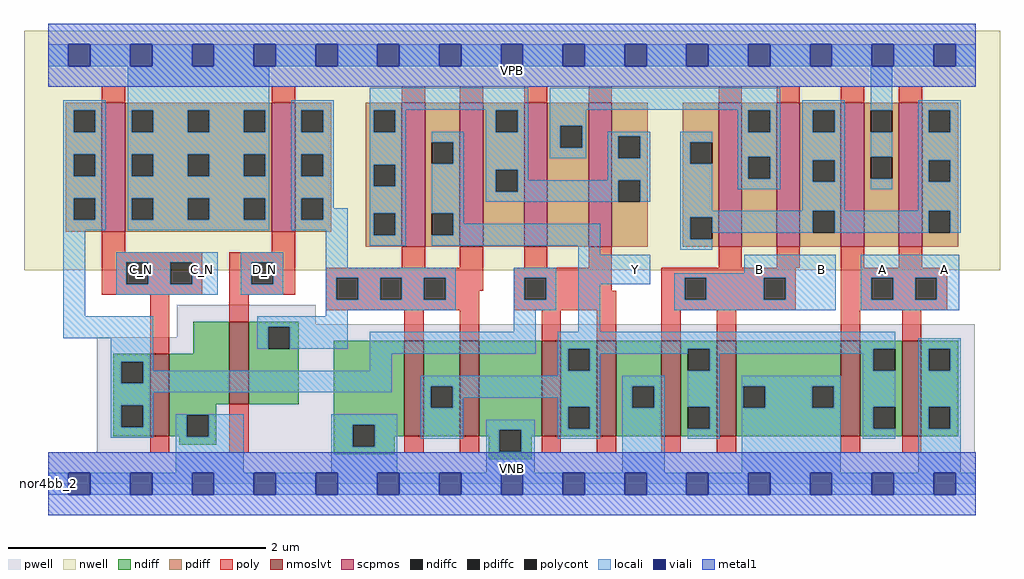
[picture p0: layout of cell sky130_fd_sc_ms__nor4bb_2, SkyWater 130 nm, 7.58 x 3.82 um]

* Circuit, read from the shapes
.subckt sky130_fd_sc_ms__nor4bb_2 A B C_N D_N VGND VNB VPB VPWR Y
XM1 VGND C_N n1 VNB sky130_fd_pr__nfet_01v8_lvt w=0.64 l=0.15
XM2 n2 D_N VGND VNB sky130_fd_pr__nfet_01v8_lvt w=0.64 l=0.15
XM3 Y n2 VGND VNB sky130_fd_pr__nfet_01v8_lvt w=0.74 l=0.15 m=2
XM4 Y n1 VGND VNB sky130_fd_pr__nfet_01v8_lvt w=0.74 l=0.15 m=2
XM5 Y B VGND VNB sky130_fd_pr__nfet_01v8_lvt w=0.74 l=0.15 m=2
XM6 Y A VGND VNB sky130_fd_pr__nfet_01v8_lvt w=0.74 l=0.15 m=2
XM7 VPWR C_N n1 VPB sky130_fd_pr__pfet_01v8 w=1 l=0.18
XM8 n2 D_N VPWR VPB sky130_fd_pr__pfet_01v8 w=1 l=0.18
XM9 Y n2 n3 VPB sky130_fd_pr__pfet_01v8 w=1.12 l=0.18 m=2
XM10 n4 n1 n3 VPB sky130_fd_pr__pfet_01v8 w=1.12 l=0.18 m=2
XM11 n4 B n5 VPB sky130_fd_pr__pfet_01v8 w=1.12 l=0.18 m=2
XM12 VPWR A n5 VPB sky130_fd_pr__pfet_01v8 w=1.12 l=0.18 m=2
.ends

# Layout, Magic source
magic
tech sky130A
magscale 1 2
<< nwell >>
rect -38 332 1478 704
<< pwell >>
rect 199 248 415 278
rect 199 228 1439 248
rect 75 49 1439 228
rect 0 0 1440 49
<< scpmos >>
rect 83 392 119 592
rect 347 392 383 592
rect 549 368 585 592
rect 639 368 675 592
rect 739 368 775 592
rect 839 368 875 592
rect 1041 368 1077 592
rect 1131 368 1167 592
rect 1231 368 1267 592
rect 1321 368 1357 592
<< nmoslvt >>
rect 158 74 188 202
rect 281 124 311 252
rect 553 74 583 222
rect 639 74 669 222
rect 766 74 796 222
rect 852 74 882 222
rect 952 74 982 222
rect 1038 74 1068 222
rect 1231 74 1261 222
rect 1326 74 1356 222
<< ndiff >>
rect 225 202 281 252
rect 101 190 158 202
rect 101 156 113 190
rect 147 156 158 190
rect 101 122 158 156
rect 101 88 113 122
rect 147 88 158 122
rect 101 74 158 88
rect 188 124 281 202
rect 311 244 389 252
rect 311 210 341 244
rect 375 210 389 244
rect 311 124 389 210
rect 188 107 261 124
rect 188 74 215 107
rect 203 73 215 74
rect 249 73 261 107
rect 203 61 261 73
rect 443 92 553 222
rect 443 58 473 92
rect 507 74 553 92
rect 583 152 639 222
rect 583 118 594 152
rect 628 118 639 152
rect 583 74 639 118
rect 669 84 766 222
rect 669 74 700 84
rect 507 58 538 74
rect 443 46 538 58
rect 684 50 700 74
rect 734 74 766 84
rect 796 210 852 222
rect 796 176 807 210
rect 841 176 852 210
rect 796 120 852 176
rect 796 86 807 120
rect 841 86 852 120
rect 796 74 852 86
rect 882 152 952 222
rect 882 118 907 152
rect 941 118 952 152
rect 882 74 952 118
rect 982 210 1038 222
rect 982 176 993 210
rect 1027 176 1038 210
rect 982 120 1038 176
rect 982 86 993 120
rect 1027 86 1038 120
rect 982 74 1038 86
rect 1068 152 1231 222
rect 1068 118 1079 152
rect 1113 118 1186 152
rect 1220 118 1231 152
rect 1068 74 1231 118
rect 1261 210 1326 222
rect 1261 176 1281 210
rect 1315 176 1326 210
rect 1261 120 1326 176
rect 1261 86 1281 120
rect 1315 86 1326 120
rect 1261 74 1326 86
rect 1356 210 1413 222
rect 1356 176 1367 210
rect 1401 176 1413 210
rect 1356 120 1413 176
rect 1356 86 1367 120
rect 1401 86 1413 120
rect 1356 74 1413 86
rect 734 50 751 74
rect 684 38 751 50
<< pdiff >>
rect 27 580 83 592
rect 27 546 39 580
rect 73 546 83 580
rect 27 512 83 546
rect 27 478 39 512
rect 73 478 83 512
rect 27 444 83 478
rect 27 410 39 444
rect 73 410 83 444
rect 27 392 83 410
rect 119 580 347 592
rect 119 546 129 580
rect 163 546 216 580
rect 250 546 303 580
rect 337 546 347 580
rect 119 512 347 546
rect 119 478 129 512
rect 163 478 216 512
rect 250 478 303 512
rect 337 478 347 512
rect 119 444 347 478
rect 119 410 129 444
rect 163 410 216 444
rect 250 410 303 444
rect 337 410 347 444
rect 119 392 347 410
rect 383 580 439 592
rect 383 546 393 580
rect 427 546 439 580
rect 383 512 439 546
rect 383 478 393 512
rect 427 478 439 512
rect 383 444 439 478
rect 383 410 393 444
rect 427 410 439 444
rect 383 392 439 410
rect 493 580 549 592
rect 493 546 505 580
rect 539 546 549 580
rect 493 496 549 546
rect 493 462 505 496
rect 539 462 549 496
rect 493 420 549 462
rect 493 386 505 420
rect 539 386 549 420
rect 493 368 549 386
rect 585 531 639 592
rect 585 497 595 531
rect 629 497 639 531
rect 585 420 639 497
rect 585 386 595 420
rect 629 386 639 420
rect 585 368 639 386
rect 675 580 739 592
rect 675 546 695 580
rect 729 546 739 580
rect 675 488 739 546
rect 675 454 695 488
rect 729 454 739 488
rect 675 368 739 454
rect 775 556 839 592
rect 775 522 795 556
rect 829 522 839 556
rect 775 368 839 522
rect 875 540 931 592
rect 875 506 885 540
rect 919 506 931 540
rect 875 472 931 506
rect 875 438 885 472
rect 919 438 931 472
rect 875 368 931 438
rect 985 531 1041 592
rect 985 497 997 531
rect 1031 497 1041 531
rect 985 414 1041 497
rect 985 380 997 414
rect 1031 380 1041 414
rect 985 368 1041 380
rect 1077 580 1131 592
rect 1077 546 1087 580
rect 1121 546 1131 580
rect 1077 508 1131 546
rect 1077 474 1087 508
rect 1121 474 1131 508
rect 1077 368 1131 474
rect 1167 580 1231 592
rect 1167 546 1187 580
rect 1221 546 1231 580
rect 1167 503 1231 546
rect 1167 469 1187 503
rect 1221 469 1231 503
rect 1167 424 1231 469
rect 1167 390 1187 424
rect 1221 390 1231 424
rect 1167 368 1231 390
rect 1267 580 1321 592
rect 1267 546 1277 580
rect 1311 546 1321 580
rect 1267 508 1321 546
rect 1267 474 1277 508
rect 1311 474 1321 508
rect 1267 368 1321 474
rect 1357 580 1413 592
rect 1357 546 1367 580
rect 1401 546 1413 580
rect 1357 503 1413 546
rect 1357 469 1367 503
rect 1401 469 1413 503
rect 1357 424 1413 469
rect 1357 390 1367 424
rect 1401 390 1413 424
rect 1357 368 1413 390
<< ndiffc >>
rect 113 156 147 190
rect 113 88 147 122
rect 341 210 375 244
rect 215 73 249 107
rect 473 58 507 92
rect 594 118 628 152
rect 700 50 734 84
rect 807 176 841 210
rect 807 86 841 120
rect 907 118 941 152
rect 993 176 1027 210
rect 993 86 1027 120
rect 1079 118 1113 152
rect 1186 118 1220 152
rect 1281 176 1315 210
rect 1281 86 1315 120
rect 1367 176 1401 210
rect 1367 86 1401 120
<< pdiffc >>
rect 39 546 73 580
rect 39 478 73 512
rect 39 410 73 444
rect 129 546 163 580
rect 216 546 250 580
rect 303 546 337 580
rect 129 478 163 512
rect 216 478 250 512
rect 303 478 337 512
rect 129 410 163 444
rect 216 410 250 444
rect 303 410 337 444
rect 393 546 427 580
rect 393 478 427 512
rect 393 410 427 444
rect 505 546 539 580
rect 505 462 539 496
rect 505 386 539 420
rect 595 497 629 531
rect 595 386 629 420
rect 695 546 729 580
rect 695 454 729 488
rect 795 522 829 556
rect 885 506 919 540
rect 885 438 919 472
rect 997 497 1031 531
rect 997 380 1031 414
rect 1087 546 1121 580
rect 1087 474 1121 508
rect 1187 546 1221 580
rect 1187 469 1221 503
rect 1187 390 1221 424
rect 1277 546 1311 580
rect 1277 474 1311 508
rect 1367 546 1401 580
rect 1367 469 1401 503
rect 1367 390 1401 424
<< poly >>
rect 83 592 119 618
rect 347 592 383 618
rect 549 592 585 618
rect 639 592 675 618
rect 739 592 775 618
rect 839 592 875 618
rect 1041 592 1077 618
rect 1131 592 1167 618
rect 1231 592 1267 618
rect 1321 592 1357 618
rect 83 360 119 392
rect 347 360 383 392
rect 83 344 239 360
rect 83 310 121 344
rect 155 310 189 344
rect 223 310 239 344
rect 83 294 239 310
rect 281 344 383 360
rect 281 310 315 344
rect 349 310 383 344
rect 549 336 585 368
rect 639 336 675 368
rect 739 336 775 368
rect 839 336 875 368
rect 1041 336 1077 368
rect 1131 336 1167 368
rect 1231 336 1267 368
rect 1321 336 1357 368
rect 281 294 383 310
rect 431 320 675 336
rect 158 202 188 294
rect 281 252 311 294
rect 431 286 447 320
rect 481 286 515 320
rect 549 286 583 320
rect 617 300 675 320
rect 723 320 875 336
rect 617 286 669 300
rect 431 270 669 286
rect 723 286 739 320
rect 773 300 875 320
rect 952 320 1161 336
rect 773 286 882 300
rect 723 270 882 286
rect 553 222 583 270
rect 639 222 669 270
rect 766 222 796 270
rect 852 222 882 270
rect 952 286 988 320
rect 1022 286 1111 320
rect 1145 286 1161 320
rect 952 270 1161 286
rect 1231 320 1396 336
rect 1231 286 1278 320
rect 1312 286 1346 320
rect 1380 286 1396 320
rect 1231 270 1396 286
rect 952 222 982 270
rect 1038 222 1068 270
rect 1231 222 1261 270
rect 1326 222 1356 270
rect 158 48 188 74
rect 281 48 311 124
rect 553 48 583 74
rect 639 48 669 74
rect 766 48 796 74
rect 852 48 882 74
rect 952 48 982 74
rect 1038 48 1068 74
rect 1231 48 1261 74
rect 1326 48 1356 74
<< polycont >>
rect 121 310 155 344
rect 189 310 223 344
rect 315 310 349 344
rect 447 286 481 320
rect 515 286 549 320
rect 583 286 617 320
rect 739 286 773 320
rect 988 286 1022 320
rect 1111 286 1145 320
rect 1278 286 1312 320
rect 1346 286 1380 320
<< locali >>
rect 0 649 31 683
rect 65 649 127 683
rect 161 649 223 683
rect 257 649 319 683
rect 353 649 415 683
rect 449 649 511 683
rect 545 649 607 683
rect 641 649 703 683
rect 737 649 799 683
rect 833 649 895 683
rect 929 649 991 683
rect 1025 649 1087 683
rect 1121 649 1183 683
rect 1217 649 1279 683
rect 1313 649 1375 683
rect 1409 649 1440 683
rect 23 580 89 596
rect 23 546 39 580
rect 73 546 89 580
rect 23 512 89 546
rect 23 478 39 512
rect 73 478 89 512
rect 23 444 89 478
rect 23 410 39 444
rect 73 410 89 444
rect 23 394 89 410
rect 123 580 343 649
rect 123 546 129 580
rect 163 546 216 580
rect 250 546 303 580
rect 337 546 343 580
rect 123 512 343 546
rect 123 478 129 512
rect 163 478 216 512
rect 250 478 303 512
rect 337 478 343 512
rect 123 444 343 478
rect 123 410 129 444
rect 163 410 216 444
rect 250 410 303 444
rect 337 410 343 444
rect 123 394 343 410
rect 377 580 443 596
rect 377 546 393 580
rect 427 546 443 580
rect 377 512 443 546
rect 377 478 393 512
rect 427 478 443 512
rect 377 444 443 478
rect 377 410 393 444
rect 427 428 443 444
rect 499 581 745 615
rect 499 580 555 581
rect 499 546 505 580
rect 539 546 555 580
rect 679 580 745 581
rect 499 496 555 546
rect 499 462 505 496
rect 539 462 555 496
rect 427 410 465 428
rect 377 394 465 410
rect 23 260 57 394
rect 105 344 263 360
rect 105 310 121 344
rect 155 310 189 344
rect 223 310 263 344
rect 105 294 263 310
rect 299 344 365 360
rect 299 310 315 344
rect 349 310 365 344
rect 299 294 365 310
rect 431 336 465 394
rect 499 420 555 462
rect 499 386 505 420
rect 539 386 555 420
rect 499 370 555 386
rect 595 531 645 547
rect 629 497 645 531
rect 595 420 645 497
rect 679 546 695 580
rect 729 546 745 580
rect 679 488 745 546
rect 779 581 1137 615
rect 779 556 835 581
rect 779 522 795 556
rect 829 522 835 556
rect 1071 580 1137 581
rect 779 506 835 522
rect 869 540 935 547
rect 869 506 885 540
rect 919 506 935 540
rect 679 454 695 488
rect 729 472 745 488
rect 869 472 935 506
rect 729 454 885 472
rect 679 438 885 454
rect 919 438 935 472
rect 981 531 1031 547
rect 981 497 997 531
rect 629 404 645 420
rect 981 424 1031 497
rect 1071 546 1087 580
rect 1121 546 1137 580
rect 1071 508 1137 546
rect 1071 474 1087 508
rect 1121 474 1137 508
rect 1071 458 1137 474
rect 1171 580 1237 596
rect 1171 546 1187 580
rect 1221 546 1237 580
rect 1171 503 1237 546
rect 1171 469 1187 503
rect 1221 469 1237 503
rect 1171 424 1237 469
rect 1277 580 1311 649
rect 1277 508 1311 546
rect 1277 458 1311 474
rect 1351 580 1417 596
rect 1351 546 1367 580
rect 1401 546 1417 580
rect 1351 503 1417 546
rect 1351 469 1367 503
rect 1401 469 1417 503
rect 1351 424 1417 469
rect 981 414 1187 424
rect 629 386 857 404
rect 595 370 857 386
rect 823 356 857 370
rect 981 380 997 414
rect 1031 390 1187 414
rect 1221 390 1367 424
rect 1401 390 1417 424
rect 981 364 1031 380
rect 431 320 633 336
rect 431 286 447 320
rect 481 286 515 320
rect 549 286 583 320
rect 617 286 633 320
rect 431 270 633 286
rect 723 320 789 336
rect 723 286 739 320
rect 773 286 789 320
rect 723 270 789 286
rect 823 310 935 356
rect 1081 327 1223 356
rect 972 320 1223 327
rect 431 260 465 270
rect 23 226 163 260
rect 97 190 163 226
rect 324 244 465 260
rect 324 210 341 244
rect 375 210 465 244
rect 723 236 757 270
rect 823 236 857 310
rect 972 286 988 320
rect 1022 286 1111 320
rect 1145 286 1223 320
rect 972 270 1223 286
rect 1262 320 1415 356
rect 1262 286 1278 320
rect 1312 286 1346 320
rect 1380 286 1415 320
rect 1262 270 1415 286
rect 97 156 113 190
rect 147 176 163 190
rect 499 202 757 236
rect 791 210 1315 236
rect 499 176 533 202
rect 147 156 533 176
rect 791 176 807 210
rect 841 202 993 210
rect 841 176 857 202
rect 791 168 857 176
rect 1027 202 1281 210
rect 1027 176 1043 202
rect 97 142 533 156
rect 578 152 857 168
rect 97 122 163 142
rect 97 88 113 122
rect 147 88 163 122
rect 578 118 594 152
rect 628 134 857 152
rect 628 118 644 134
rect 97 72 163 88
rect 198 107 303 108
rect 198 73 215 107
rect 249 73 303 107
rect 198 17 303 73
rect 439 92 542 108
rect 439 58 473 92
rect 507 58 542 92
rect 578 70 644 118
rect 791 120 857 134
rect 680 84 755 100
rect 439 17 542 58
rect 680 50 700 84
rect 734 50 755 84
rect 791 86 807 120
rect 841 86 857 120
rect 791 70 857 86
rect 891 152 957 168
rect 891 118 907 152
rect 941 118 957 152
rect 680 17 755 50
rect 891 17 957 118
rect 993 120 1043 176
rect 1265 176 1281 202
rect 1027 86 1043 120
rect 993 70 1043 86
rect 1077 152 1231 168
rect 1077 118 1079 152
rect 1113 118 1186 152
rect 1220 118 1231 152
rect 1077 17 1231 118
rect 1265 120 1315 176
rect 1265 86 1281 120
rect 1265 70 1315 86
rect 1351 210 1417 226
rect 1351 176 1367 210
rect 1401 176 1417 210
rect 1351 120 1417 176
rect 1351 86 1367 120
rect 1401 86 1417 120
rect 1351 17 1417 86
rect 0 -17 31 17
rect 65 -17 127 17
rect 161 -17 223 17
rect 257 -17 319 17
rect 353 -17 415 17
rect 449 -17 511 17
rect 545 -17 607 17
rect 641 -17 703 17
rect 737 -17 799 17
rect 833 -17 895 17
rect 929 -17 991 17
rect 1025 -17 1087 17
rect 1121 -17 1183 17
rect 1217 -17 1279 17
rect 1313 -17 1375 17
rect 1409 -17 1440 17
<< viali >>
rect 31 649 65 683
rect 127 649 161 683
rect 223 649 257 683
rect 319 649 353 683
rect 415 649 449 683
rect 511 649 545 683
rect 607 649 641 683
rect 703 649 737 683
rect 799 649 833 683
rect 895 649 929 683
rect 991 649 1025 683
rect 1087 649 1121 683
rect 1183 649 1217 683
rect 1279 649 1313 683
rect 1375 649 1409 683
rect 31 -17 65 17
rect 127 -17 161 17
rect 223 -17 257 17
rect 319 -17 353 17
rect 415 -17 449 17
rect 511 -17 545 17
rect 607 -17 641 17
rect 703 -17 737 17
rect 799 -17 833 17
rect 895 -17 929 17
rect 991 -17 1025 17
rect 1087 -17 1121 17
rect 1183 -17 1217 17
rect 1279 -17 1313 17
rect 1375 -17 1409 17
<< metal1 >>
rect 0 683 1440 715
rect 0 649 31 683
rect 65 649 127 683
rect 161 649 223 683
rect 257 649 319 683
rect 353 649 415 683
rect 449 649 511 683
rect 545 649 607 683
rect 641 649 703 683
rect 737 649 799 683
rect 833 649 895 683
rect 929 649 991 683
rect 1025 649 1087 683
rect 1121 649 1183 683
rect 1217 649 1279 683
rect 1313 649 1375 683
rect 1409 649 1440 683
rect 0 617 1440 649
rect 0 17 1440 49
rect 0 -17 31 17
rect 65 -17 127 17
rect 161 -17 223 17
rect 257 -17 319 17
rect 353 -17 415 17
rect 449 -17 511 17
rect 545 -17 607 17
rect 641 -17 703 17
rect 737 -17 799 17
rect 833 -17 895 17
rect 929 -17 991 17
rect 1025 -17 1087 17
rect 1121 -17 1183 17
rect 1217 -17 1279 17
rect 1313 -17 1375 17
rect 1409 -17 1440 17
rect 0 -49 1440 -17
<< labels >>
flabel pwell s 0 0 1440 49 0 FreeSans 200 0 0 0 VNB
port 6 nsew ground bidirectional
flabel nwell s 0 617 1440 666 0 FreeSans 200 0 0 0 VPB
port 7 nsew power bidirectional
rlabel comment s 0 0 0 0 4 nor4bb_2
flabel metal1 s 0 617 1440 666 0 FreeSans 340 0 0 0 VPWR
port 8 nsew power bidirectional
flabel metal1 s 0 0 1440 49 0 FreeSans 340 0 0 0 VGND
port 5 nsew ground bidirectional
flabel locali s 127 316 161 350 0 FreeSans 340 0 0 0 C_N
port 3 nsew signal input
flabel locali s 223 316 257 350 0 FreeSans 340 0 0 0 C_N
port 3 nsew signal input
flabel locali s 319 316 353 350 0 FreeSans 340 0 0 0 D_N
port 4 nsew signal input
flabel locali s 1279 316 1313 350 0 FreeSans 340 0 0 0 A
port 1 nsew signal input
flabel locali s 1375 316 1409 350 0 FreeSans 340 0 0 0 A
port 1 nsew signal input
flabel locali s 1087 316 1121 350 0 FreeSans 340 0 0 0 B
port 2 nsew signal input
flabel locali s 1183 316 1217 350 0 FreeSans 340 0 0 0 B
port 2 nsew signal input
flabel locali s 895 316 929 350 0 FreeSans 340 0 0 0 Y
port 9 nsew signal output
<< properties >>
string LEFsite unit
string LEFclass CORE
string FIXED_BBOX 0 0 1440 666
string GDS_FILE $PDKPATH/libs.ref/sky130_fd_sc_ms/gds/sky130_fd_sc_ms.gds
string LEFsymmetry X Y
string GDS_END 1293852
string GDS_START 1282216
<< end >>
